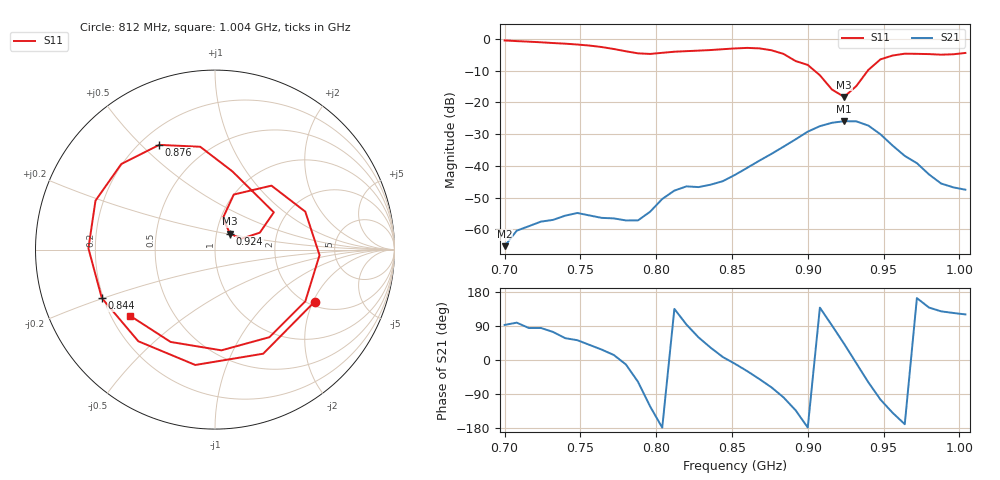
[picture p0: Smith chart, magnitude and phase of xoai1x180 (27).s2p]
# Hz S RI R 50
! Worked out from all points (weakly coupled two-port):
!   39 points, 700 MHz to 1.004 GHz, reference 50 ohm
!   highest |S21| = -25.94 dB at 924 MHz (marker M1); lowest = -65.3 dB at 700 MHz (marker M2)
!   lowest |S11| = -18.3 dB at 924 MHz (marker M3), VSWR 1.28, Z = 58.2 + j10.4 ohm
!   |S11| at or under -10 dB: 904.4 MHz to 939.7 MHz (35.28 MHz wide, 3.83 % of centre)
!   S12 and S22 are empty: the file has one direction only
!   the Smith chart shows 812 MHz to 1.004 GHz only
!   S11 on the Smith chart (normalised r, x): 812 MHz: 2.16, -2.06; 844 MHz: 0.19, -0.20; 876 MHz: 0.27, +0.57; 924 MHz: 1.16, +0.21; 1.004 GHz: 0.28, -0.32
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7e8  0.7621 0.5538  -2.43e-05 0.000543  0 0  0 0
7.24e8  0.8462 -0.2469  0.000127 0.00132  0 0  0 0
7.4e8  0.4562 -0.7034  0.000882 0.00139  0 0  0 0
7.56e8  -0.1943 -0.7582  0.00127 0.00106  0 0  0 0
7.72e8  -0.6636 -0.194  0.00145 0.000343  0 0  0 0
7.8e8  -0.5941 0.2283  0.00135 -0.00028  0 0  0 0
7.88e8  -0.2419 0.5388  0.000745 -0.00117  0 0  0 0
7.96e8  0.2474 0.5221  -0.00102 -0.0016  0 0  0 0
8.04e8  0.5766 0.1734  -0.00301 -8.1e-05  0 0  0 0
8.12e8  0.5555 -0.2897  -0.00287 0.00289  0 0  0 0
8.28e8  -0.1097 -0.6428  0.00235 0.00399  0 0  0 0
8.44e8  -0.6308 -0.2697  0.00569 0.00078  0 0  0 0
8.52e8  -0.7053 0.0071  0.0071 -0.00126  0 0  0 0
8.76e8  -0.3106 0.5834  0.00476 -0.0147  0 0  0 0
9e8  0.3277 0.2078  -0.0345 -0.00105  0 0  0 0
9.08e8  0.2497 0.0943  -0.0314 0.0281  0 0  0 0
9.24e8  0.084 0.0883  0.0371 0.0342  0 0  0 0
9.4e8  0.1047 0.3068  0.0222 -0.0369  0 0  0 0
9.56e8  0.5033 0.2112  -0.0158 -0.0136  0 0  0 0
9.64e8  0.5825 -0.0308  -0.0141 -0.00263  0 0  0 0
9.8e8  0.3035 -0.4879  -0.00548 0.00487  0 0  0 0
1.004e9  -0.4717 -0.3695  -0.00212 0.00363  0 0  0 0
